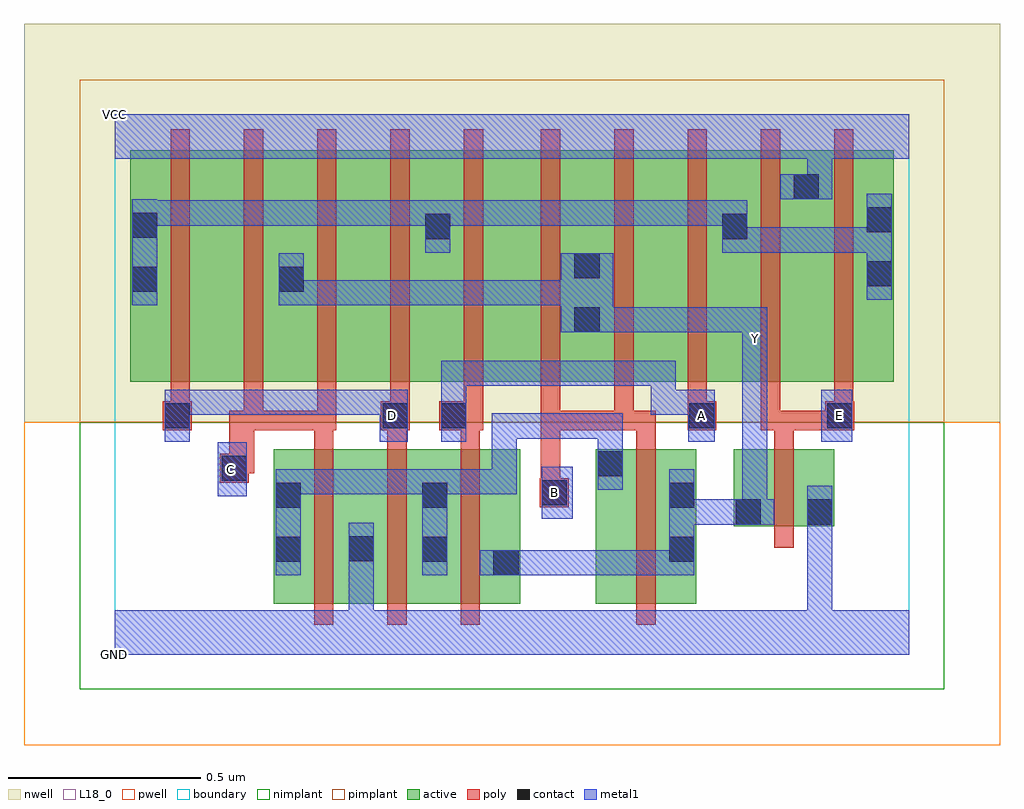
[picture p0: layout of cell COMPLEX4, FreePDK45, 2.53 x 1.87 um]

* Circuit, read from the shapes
.subckt COMPLEX4 A B C D E GND VCC Y
M1 GND C n1 VSUBS nfet w=0.4u l=0.05u
M2 n1 D GND VSUBS nfet w=0.4u l=0.05u
M3 Y A n1 VSUBS nfet w=0.4u l=0.05u
M4 Y B n1 VSUBS nfet w=0.4u l=0.05u
M5 GND E Y VSUBS nfet w=0.2u l=0.05u
M6 n2 D n3 n4 pfet w=0.6u l=0.05u
M7 Y C n2 n4 pfet w=0.6u l=0.05u
M8 n5 C Y n4 pfet w=0.6u l=0.05u
M9 n3 D n5 n4 pfet w=0.6u l=0.05u
M10 n6 A n3 n4 pfet w=0.6u l=0.05u
M11 Y B n6 n4 pfet w=0.6u l=0.05u
M12 n7 B Y n4 pfet w=0.6u l=0.05u
M13 n3 A n7 n4 pfet w=0.6u l=0.05u
M14 VCC E n3 n4 pfet w=0.6u l=0.05u m=2
.ends

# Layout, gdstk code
import gdstk
lib = gdstk.Library(unit=1e-6, precision=1e-09)
def R(c, l, rs):  # rectangles x0, y0, x1, y1
    for r in rs: c.add(gdstk.rectangle(r[:2], r[2:], *l))
def A(c, l, x, y, w, h, nx, ny, dx, dy):  # array of equal rectangles
    R(c, l, [(x+i*dx, y+j*dy, x+i*dx+w, y+j*dy+h) for i in range(nx) for j in range(ny)])
active = (1, 0)
pwell = (2, 0)
nwell = (3, 0)
nimplant = (4, 0)
pimplant = (5, 0)
poly = (9, 0)
contact = (10, 0)
metal1 = (11, 0)
L18_0 = (18, 0)
boundary = (235, 0)

complex4 = lib.new_cell('COMPLEX4')
R(complex4, active, [(0.412,0.132,0.677,0.532), (0.602,0.132,0.867,0.532), (0.602,0.132,0.677,0.492), (0.792,0.132,1.052,0.532), (1.247,0.132,1.507,0.532), (0.412,0.147,0.487,0.532), (0.792,0.147,0.867,0.492), (0.977,0.147,1.052,0.532), (1.247,0.147,1.322,0.532), (1.432,0.147,1.507,0.532), (1.605,0.332,1.68,0.532), (1.605,0.332,1.865,0.532), (1.79,0.332,1.865,0.532), (0.04,0.707,0.265,1.307), (0.04,0.707,0.145,1.2), (0.265,0.707,0.495,1.307), (0.42,0.707,0.495,1.07), (0.42,0.707,0.645,1.307), (0.645,0.707,0.875,1.307), (0.8,0.707,0.875,1.2), (0.8,0.707,1.035,1.307), (1.035,0.707,1.262,1.307), (1.187,0.707,1.415,1.307), (1.187,0.707,1.262,1.07), (1.415,0.707,1.645,1.307), (1.57,0.707,1.645,1.2), (1.57,0.707,1.83,1.307), (1.755,0.707,2.02,1.307), (1.755,0.707,1.83,1.307), (1.945,0.707,2.02,1.2)])
R(complex4, pwell, [(-0.235,-0.235,2.295,0.602)])
R(complex4, nwell, [(-0.235,0.602,2.295,1.635)])
R(complex4, nimplant, [(-0.09,-0.09,2.15,0.602)])
R(complex4, pimplant, [(-0.09,0.602,2.15,1.49)])
A(complex4, poly, 0.517, 0.077, 0.05, 0.51, 3, 1, 0.19, 0)
A(complex4, poly, 0.517, 0.537, 0.05, 0.095, 3, 1, 0.19, 0)
A(complex4, poly, 0.145, 0.652, 0.05, 0.71, 5, 1, 0.19, 0)
A(complex4, poly, 1.105, 0.652, 0.05, 0.71, 5, 1, 0.19, 0)
R(complex4, poly, [(1.352,0.077,1.402,0.587), (1.71,0.277,1.76,0.587), (1.102,0.382,1.177,0.457), (1.105,0.407,1.155,0.632), (0.272,0.445,0.347,0.52), (0.297,0.47,0.347,0.52), (0.297,0.47,0.362,0.632), (1.352,0.537,1.402,0.632), (1.71,0.537,1.76,0.632), (0.125,0.582,0.2,0.657), (0.312,0.582,0.362,0.632), (0.312,0.582,0.385,0.632), (0.335,0.582,0.385,0.632), (0.335,0.582,0.385,0.632), (0.335,0.582,0.385,0.702), (0.335,0.582,0.567,0.632), (0.517,0.582,0.575,0.632), (0.525,0.582,0.575,0.702), (0.69,0.582,0.765,0.657), (0.842,0.582,0.955,0.657), (1.105,0.582,1.155,0.632), (1.105,0.582,1.155,0.632), (1.105,0.582,1.155,0.632), (1.105,0.582,1.155,0.702), (1.105,0.582,1.345,0.632), (1.295,0.582,1.345,0.632), (1.295,0.582,1.345,0.632), (1.295,0.582,1.345,0.702), (1.295,0.582,1.402,0.632), (1.485,0.582,1.56,0.657), (1.675,0.582,1.725,0.702), (1.675,0.582,1.76,0.632), (1.71,0.582,1.892,0.632), (1.71,0.582,1.76,0.632), (1.71,0.582,1.76,0.632), (1.842,0.582,1.917,0.657), (0.145,0.607,0.195,0.702), (0.715,0.607,0.765,0.702), (0.905,0.607,0.955,0.702), (1.485,0.607,1.535,0.702), (1.865,0.607,1.915,0.702)])
R(complex4, contact, [(0.982,0.205,1.047,0.27), (0.417,0.24,0.482,0.305), (0.797,0.24,0.862,0.305), (1.437,0.24,1.502,0.305), (0.607,0.242,0.672,0.307), (1.61,0.337,1.675,0.402), (1.795,0.337,1.86,0.402), (0.417,0.38,0.482,0.445), (0.797,0.38,0.862,0.445), (1.437,0.38,1.502,0.445), (1.107,0.387,1.172,0.452), (0.277,0.45,0.342,0.515), (1.252,0.462,1.317,0.527), (0.13,0.587,0.195,0.652), (0.695,0.587,0.76,0.652), (0.847,0.587,0.912,0.652), (1.49,0.587,1.555,0.652), (1.847,0.587,1.912,0.652), (1.192,0.835,1.257,0.9), (0.045,0.94,0.11,1.005), (0.425,0.94,0.49,1.005), (1.95,0.955,2.015,1.02), (1.192,0.975,1.257,1.04), (0.805,1.077,0.87,1.142), (1.575,1.077,1.64,1.142), (0.045,1.08,0.11,1.145), (1.95,1.095,2.015,1.16), (1.76,1.18,1.825,1.245)])
R(complex4, metal1, [(0,0,2.06,0.115), (0.607,0.05,0.672,0.272), (1.795,0.05,1.86,0.115), (1.795,0.05,1.86,0.115), (1.795,0.05,1.86,0.367), (0.417,0.205,0.482,0.48), (0.797,0.205,0.862,0.48), (0.947,0.205,1.082,0.27), (1.017,0.205,1.082,0.27), (1.017,0.205,1.082,0.27), (1.017,0.205,1.317,0.27), (1.252,0.205,1.317,0.27), (1.252,0.205,1.317,0.27), (1.252,0.205,1.317,0.27), (1.252,0.205,1.502,0.27), (1.437,0.205,1.502,0.27), (1.437,0.205,1.502,0.27), (1.437,0.205,1.502,0.27), (1.437,0.205,1.502,0.27), (1.437,0.205,1.502,0.48), (0.607,0.207,0.672,0.342), (1.795,0.302,1.86,0.367), (1.795,0.302,1.86,0.367), (1.795,0.302,1.86,0.437), (1.437,0.337,1.502,0.402), (1.437,0.337,1.502,0.402), (1.437,0.337,1.64,0.402), (1.575,0.337,1.71,0.402), (1.627,0.337,1.692,0.817), (1.107,0.352,1.187,0.487), (0.267,0.41,0.342,0.55), (0.417,0.415,0.482,0.48), (0.417,0.415,0.482,0.48), (0.417,0.415,0.725,0.48), (0.66,0.415,0.725,0.48), (0.66,0.415,0.725,0.48), (0.66,0.415,0.725,0.48), (0.66,0.415,0.862,0.48), (0.797,0.415,0.862,0.48), (0.797,0.415,0.862,0.48), (0.797,0.415,1.042,0.48), (0.977,0.415,1.042,0.625), (1.252,0.427,1.317,0.625), (0.13,0.552,0.195,0.687), (0.687,0.552,0.76,0.687), (0.847,0.552,0.912,0.762), (1.487,0.552,1.555,0.687), (1.832,0.552,1.912,0.687), (0.977,0.56,1.05,0.625), (0.985,0.56,1.05,0.625), (0.985,0.56,1.317,0.625), (0.13,0.622,0.332,0.687), (0.267,0.622,0.332,0.687), (0.267,0.622,0.332,0.687), (0.267,0.622,0.332,0.687), (0.267,0.622,0.482,0.687), (0.417,0.622,0.482,0.687), (0.417,0.622,0.482,0.687), (0.417,0.622,0.482,0.687), (0.417,0.622,0.725,0.687), (0.66,0.622,0.725,0.687), (0.66,0.622,0.752,0.687), (1.39,0.622,1.552,0.687), (1.39,0.622,1.455,0.762), (0.847,0.697,1.085,0.762), (1.02,0.697,1.085,0.762), (1.02,0.697,1.085,0.762), (1.02,0.697,1.085,0.762), (1.02,0.697,1.317,0.762), (1.252,0.697,1.317,0.762), (1.252,0.697,1.317,0.762), (1.252,0.697,1.317,0.762), (1.252,0.697,1.455,0.762), (1.627,0.752,1.692,0.9), (1.157,0.835,1.292,1.04), (1.227,0.835,1.292,0.9), (1.227,0.835,1.292,0.9), (1.227,0.835,1.502,0.9), (1.437,0.835,1.502,0.9), (1.437,0.835,1.555,0.9), (1.49,0.835,1.555,0.9), (1.49,0.835,1.692,0.9), (1.627,0.835,1.692,0.9), (1.627,0.835,1.692,0.9), (0.045,0.905,0.11,1.18), (0.425,0.905,0.49,0.97), (0.425,0.905,0.49,0.97), (0.425,0.905,0.49,1.04), (0.425,0.905,0.695,0.97), (0.63,0.905,0.695,0.97), (0.63,0.905,0.695,0.97), (0.63,0.905,0.695,0.97), (0.63,0.905,0.875,0.97), (0.81,0.905,0.875,0.97), (0.81,0.905,0.875,0.97), (0.81,0.905,0.875,0.97), (0.81,0.905,1.055,0.97), (0.99,0.905,1.055,0.97), (0.99,0.905,1.055,0.97), (0.99,0.905,1.055,0.97), (0.99,0.905,1.222,0.97), (1.95,0.92,2.015,1.195), (0.805,1.042,0.87,1.177), (1.575,1.042,1.64,1.177), (1.575,1.042,1.76,1.107), (1.695,1.042,1.76,1.107), (1.695,1.042,1.877,1.107), (1.812,1.042,1.877,1.107), (1.812,1.042,1.877,1.107), (1.812,1.042,1.877,1.107), (1.812,1.042,2.015,1.107), (1.95,1.042,2.015,1.107), (1.95,1.042,2.015,1.107), (0.045,1.112,0.11,1.177), (0.045,1.112,0.11,1.177), (0.045,1.112,0.345,1.177), (0.28,1.112,0.345,1.177), (0.28,1.112,0.345,1.177), (0.28,1.112,0.345,1.177), (0.28,1.112,0.345,1.177), (0.28,1.112,0.345,1.177), (0.28,1.112,0.5,1.177), (0.435,1.112,0.5,1.177), (0.435,1.112,0.5,1.177), (0.435,1.112,0.5,1.177), (0.435,1.112,0.725,1.177), (0.66,1.112,0.725,1.177), (0.66,1.112,0.725,1.177), (0.66,1.112,0.725,1.177), (0.66,1.112,0.87,1.177), (0.805,1.112,0.87,1.177), (0.805,1.112,0.87,1.177), (0.805,1.112,1.085,1.177), (1.02,1.112,1.085,1.177), (1.02,1.112,1.085,1.177), (1.02,1.112,1.085,1.177), (1.02,1.112,1.222,1.177), (1.157,1.112,1.222,1.177), (1.157,1.112,1.222,1.177), (1.157,1.112,1.222,1.177), (1.157,1.112,1.455,1.177), (1.39,1.112,1.455,1.177), (1.39,1.112,1.455,1.177), (1.39,1.112,1.455,1.177), (1.39,1.112,1.64,1.177), (1.725,1.18,1.86,1.245), (1.795,1.18,1.86,1.35), (0,1.285,2.06,1.4)])
R(complex4, L18_0, [(0,0,2.06,0.115), (0.607,0.05,0.672,0.272), (1.795,0.05,1.86,0.115), (1.795,0.05,1.86,0.115), (1.795,0.05,1.86,0.367), (0.947,0.205,1.082,0.27), (1.017,0.205,1.082,0.27), (1.017,0.205,1.082,0.27), (1.017,0.205,1.317,0.27), (1.252,0.205,1.317,0.27), (1.252,0.205,1.317,0.27), (1.252,0.205,1.317,0.27), (1.252,0.205,1.502,0.27), (1.437,0.205,1.502,0.27), (1.437,0.205,1.502,0.27), (1.437,0.205,1.502,0.27), (1.437,0.205,1.502,0.27), (1.437,0.205,1.502,0.48), (0.607,0.207,0.672,0.342), (1.795,0.302,1.86,0.437), (1.795,0.302,1.86,0.367), (1.795,0.302,1.86,0.367), (1.437,0.337,1.502,0.402), (1.437,0.337,1.502,0.402), (1.437,0.337,1.64,0.402), (1.575,0.337,1.71,0.402), (1.627,0.337,1.692,0.817), (1.107,0.352,1.187,0.487), (1.107,0.387,1.172,0.452), (0.267,0.41,0.342,0.55), (0.267,0.447,0.332,0.512), (0.13,0.552,0.195,0.687), (0.687,0.552,0.76,0.687), (0.847,0.552,0.912,0.762), (1.487,0.552,1.555,0.687), (1.832,0.552,1.912,0.687), (0.687,0.587,0.752,0.652), (1.487,0.587,1.552,0.652), (1.847,0.587,1.912,0.652), (0.13,0.622,0.332,0.687), (0.267,0.622,0.332,0.687), (0.267,0.622,0.332,0.687), (0.267,0.622,0.332,0.687), (0.267,0.622,0.482,0.687), (0.417,0.622,0.482,0.687), (0.417,0.622,0.482,0.687), (0.417,0.622,0.482,0.687), (0.417,0.622,0.725,0.687), (0.66,0.622,0.725,0.687), (0.66,0.622,0.752,0.687), (1.39,0.622,1.455,0.762), (1.39,0.622,1.552,0.687), (0.847,0.697,1.085,0.762), (1.02,0.697,1.085,0.762), (1.02,0.697,1.085,0.762), (1.02,0.697,1.085,0.762), (1.02,0.697,1.317,0.762), (1.252,0.697,1.317,0.762), (1.252,0.697,1.317,0.762), (1.252,0.697,1.317,0.762), (1.252,0.697,1.455,0.762), (1.627,0.752,1.692,0.9), (1.627,0.787,1.692,0.852), (1.157,0.835,1.292,1.04), (1.227,0.835,1.292,0.9), (1.227,0.835,1.292,0.9), (1.227,0.835,1.502,0.9), (1.437,0.835,1.502,0.9), (1.437,0.835,1.555,0.9), (1.49,0.835,1.555,0.9), (1.49,0.835,1.692,0.9), (1.627,0.835,1.692,0.9), (1.627,0.835,1.692,0.9), (0.425,0.905,0.49,1.04), (0.425,0.905,0.49,0.97), (0.425,0.905,0.49,0.97), (0.425,0.905,0.695,0.97), (0.63,0.905,0.695,0.97), (0.63,0.905,0.695,0.97), (0.63,0.905,0.695,0.97), (0.63,0.905,0.875,0.97), (0.81,0.905,0.875,0.97), (0.81,0.905,0.875,0.97), (0.81,0.905,0.875,0.97), (0.81,0.905,1.055,0.97), (0.99,0.905,1.055,0.97), (0.99,0.905,1.055,0.97), (0.99,0.905,1.055,0.97), (0.99,0.905,1.222,0.97), (1.725,1.18,1.86,1.245), (1.795,1.18,1.86,1.35), (0,1.285,2.06,1.4)])
R(complex4, boundary, [(0,0,2.06,1.4)])
complex4.add(gdstk.Label('A', (1.52,0.62), layer=11, texttype=0))
complex4.add(gdstk.Label('B', (1.14,0.42), layer=11, texttype=0))
complex4.add(gdstk.Label('C', (0.3,0.48), layer=11, texttype=0))
complex4.add(gdstk.Label('D', (0.72,0.62), layer=11, texttype=0))
complex4.add(gdstk.Label('E', (1.88,0.62), layer=11, texttype=0))
complex4.add(gdstk.Label('Y', (1.66,0.82), layer=11, texttype=0))
complex4.add(gdstk.Label('VCC', (0,1.4), layer=11, texttype=0))
complex4.add(gdstk.Label('GND', (0,0), layer=11, texttype=0))

lib.write_gds('COMPLEX4.gds')
